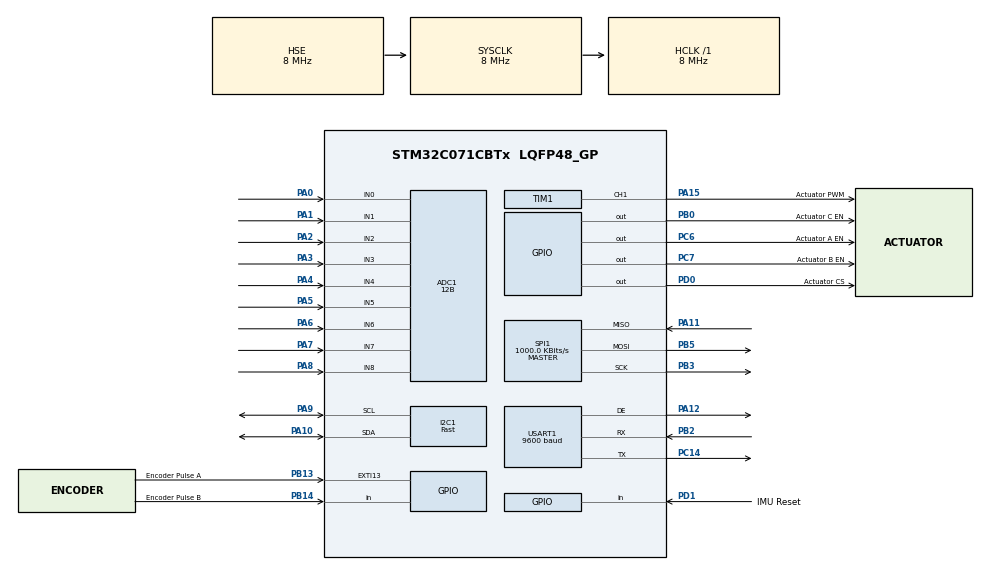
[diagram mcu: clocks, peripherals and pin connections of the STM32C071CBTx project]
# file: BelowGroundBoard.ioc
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ADC1.ClockPrescaler=ADC_CLOCK_SYNC_PCLK_DIV2
ADC1.ContinuousConvMode=ENABLE
ADC1.DMAContinuousRequests=ENABLE
ADC1.DiscontinuousConvMode=DISABLE
ADC1.EOCSelection=ADC_EOC_SEQ_CONV
ADC1.Overrun=ADC_OVR_DATA_PRESERVED
ADC1.OversamplingMode=DISABLE
ADC1.Resolution=ADC_RESOLUTION_12B
ADC1.SamplingTimeCommon1=ADC_SAMPLETIME_160CYCLES_5
ADC1.SelectedChannel=ADC_CHANNEL_0|ADC_CHANNEL_1|ADC_CHANNEL_2|ADC_CHANNEL_3|ADC_CHANNEL_4|ADC_CHANNEL_5|ADC_CHANNEL_6|ADC_CHANNEL_7|ADC_CHANNEL_8
ADC1.TriggerFrequencyMode=ADC_TRIGGER_FREQ_HIGH
ADC1.master=1
Dma.ADC1.4.Direction=DMA_PERIPH_TO_MEMORY
Dma.ADC1.4.EventEnable=DISABLE
Dma.ADC1.4.Instance=DMA1_Channel1
Dma.ADC1.4.MemDataAlignment=DMA_MDATAALIGN_HALFWORD
Dma.ADC1.4.MemInc=DMA_MINC_ENABLE
Dma.ADC1.4.Mode=DMA_CIRCULAR
Dma.ADC1.4.PeriphDataAlignment=DMA_PDATAALIGN_HALFWORD
Dma.ADC1.4.PeriphInc=DMA_PINC_DISABLE
Dma.ADC1.4.Polarity=HAL_DMAMUX_REQ_GEN_RISING
Dma.ADC1.4.Priority=DMA_PRIORITY_LOW
Dma.ADC1.4.RequestNumber=1
Dma.ADC1.4.SignalID=NONE
Dma.ADC1.4.SyncEnable=DISABLE
Dma.ADC1.4.SyncPolarity=HAL_DMAMUX_SYNC_NO_EVENT
Dma.ADC1.4.SyncRequestNumber=1
Dma.ADC1.4.SyncSignalID=NONE
Dma.I2C1_RX.2.Direction=DMA_PERIPH_TO_MEMORY
Dma.I2C1_RX.2.EventEnable=DISABLE
Dma.I2C1_RX.2.Instance=DMA1_Channel4
Dma.I2C1_RX.2.MemDataAlignment=DMA_MDATAALIGN_BYTE
Dma.I2C1_RX.2.MemInc=DMA_MINC_ENABLE
Dma.I2C1_RX.2.Mode=DMA_NORMAL
Dma.I2C1_RX.2.PeriphDataAlignment=DMA_PDATAALIGN_BYTE
Dma.I2C1_RX.2.PeriphInc=DMA_PINC_DISABLE
Dma.I2C1_RX.2.Polarity=HAL_DMAMUX_REQ_GEN_RISING
Dma.I2C1_RX.2.Priority=DMA_PRIORITY_MEDIUM
Dma.I2C1_RX.2.RequestNumber=1
Dma.I2C1_RX.2.SignalID=NONE
Dma.I2C1_RX.2.SyncEnable=DISABLE
Dma.I2C1_RX.2.SyncPolarity=HAL_DMAMUX_SYNC_NO_EVENT
Dma.I2C1_RX.2.SyncRequestNumber=1
Dma.I2C1_RX.2.SyncSignalID=NONE
Dma.I2C1_TX.3.Direction=DMA_MEMORY_TO_PERIPH
Dma.I2C1_TX.3.EventEnable=DISABLE
Dma.I2C1_TX.3.Instance=DMA1_Channel5
Dma.I2C1_TX.3.MemDataAlignment=DMA_MDATAALIGN_BYTE
Dma.I2C1_TX.3.MemInc=DMA_MINC_ENABLE
Dma.I2C1_TX.3.Mode=DMA_NORMAL
Dma.I2C1_TX.3.PeriphDataAlignment=DMA_PDATAALIGN_BYTE
Dma.I2C1_TX.3.PeriphInc=DMA_PINC_DISABLE
Dma.I2C1_TX.3.Polarity=HAL_DMAMUX_REQ_GEN_RISING
Dma.I2C1_TX.3.Priority=DMA_PRIORITY_LOW
Dma.I2C1_TX.3.RequestNumber=1
Dma.I2C1_TX.3.SignalID=NONE
Dma.I2C1_TX.3.SyncEnable=DISABLE
Dma.I2C1_TX.3.SyncPolarity=HAL_DMAMUX_SYNC_NO_EVENT
Dma.I2C1_TX.3.SyncRequestNumber=1
Dma.I2C1_TX.3.SyncSignalID=NONE
Dma.Request0=USART1_RX
Dma.Request1=USART1_TX
Dma.Request2=I2C1_RX
Dma.Request3=I2C1_TX
Dma.Request4=ADC1
Dma.USART1_RX.0.Direction=DMA_PERIPH_TO_MEMORY
Dma.USART1_RX.0.EventEnable=DISABLE
Dma.USART1_RX.0.Instance=DMA1_Channel2
Dma.USART1_RX.0.MemDataAlignment=DMA_MDATAALIGN_BYTE
Dma.USART1_RX.0.MemInc=DMA_MINC_ENABLE
Dma.USART1_RX.0.Mode=DMA_NORMAL
Dma.USART1_RX.0.PeriphDataAlignment=DMA_PDATAALIGN_BYTE
Dma.USART1_RX.0.PeriphInc=DMA_PINC_DISABLE
Dma.USART1_RX.0.Polarity=HAL_DMAMUX_REQ_GEN_RISING
Dma.USART1_RX.0.Priority=DMA_PRIORITY_VERY_HIGH
Dma.USART1_RX.0.RequestNumber=1
Dma.USART1_RX.0.SignalID=NONE
Dma.USART1_RX.0.SyncEnable=DISABLE
Dma.USART1_RX.0.SyncPolarity=HAL_DMAMUX_SYNC_NO_EVENT
Dma.USART1_RX.0.SyncRequestNumber=1
Dma.USART1_RX.0.SyncSignalID=NONE
Dma.USART1_TX.1.Direction=DMA_MEMORY_TO_PERIPH
Dma.USART1_TX.1.EventEnable=DISABLE
Dma.USART1_TX.1.Instance=DMA1_Channel3
Dma.USART1_TX.1.MemDataAlignment=DMA_MDATAALIGN_BYTE
Dma.USART1_TX.1.MemInc=DMA_MINC_ENABLE
Dma.USART1_TX.1.Mode=DMA_NORMAL
Dma.USART1_TX.1.PeriphDataAlignment=DMA_PDATAALIGN_BYTE
Dma.USART1_TX.1.PeriphInc=DMA_PINC_DISABLE
Dma.USART1_TX.1.Polarity=HAL_DMAMUX_REQ_GEN_RISING
Dma.USART1_TX.1.Priority=DMA_PRIORITY_HIGH
Dma.USART1_TX.1.RequestNumber=1
Dma.USART1_TX.1.SignalID=NONE
Dma.USART1_TX.1.SyncEnable=DISABLE
Dma.USART1_TX.1.SyncPolarity=HAL_DMAMUX_SYNC_NO_EVENT
Dma.USART1_TX.1.SyncRequestNumber=1
Dma.USART1_TX.1.SyncSignalID=NONE
I2C1.I2C_Fall_Time=40
I2C1.I2C_Rise_Time=40
I2C1.I2C_Speed_Mode=I2C_Fast
I2C1.Timing=0x0010020B
Mcu.Family=STM32C0
Mcu.Name=STM32C071CBTx
Mcu.Package=LQFP48_GP
NVIC.ADC1_IRQn=true\:0\:0\:false\:false\:true\:true\:true\:true
NVIC.DMA1_Channel1_IRQn=true\:0\:0\:false\:false\:true\:false\:true\:true
NVIC.DMA1_Channel2_3_IRQn=true\:0\:0\:false\:false\:true\:false\:true\:true
NVIC.DMAMUX1_DMA1_CH4_5_IRQn=true\:0\:0\:false\:false\:true\:false\:true\:true
NVIC.EXTI4_15_IRQn=true\:0\:0\:false\:false\:true\:true\:true\:true
NVIC.I2C1_IRQn=true\:3\:0\:true\:false\:true\:true\:true\:true
NVIC.TIM14_IRQn=true\:0\:0\:false\:false\:true\:true\:true\:true
NVIC.USART1_IRQn=true\:0\:0\:false\:false\:true\:true\:true\:true
PA0.Mode=IN0
PA0.Signal=ADC1_IN0
PA1.Mode=IN1
PA1.Signal=ADC1_IN1
PA10\ [PA12].Mode=I2C
PA10\ [PA12].Signal=I2C1_SDA
PA11\ [PA9].Mode=Full_Duplex_Master
PA11\ [PA9].Signal=SPI1_MISO
PA12\ [PA10].Mode=Hardware Flow Control (RS485)
PA12\ [PA10].Signal=USART1_DE
PA13.Mode=Serial_Wire
PA13.Signal=DEBUG_SWDIO
PA14-BOOT0.Mode=Serial_Wire
PA14-BOOT0.Signal=DEBUG_SWCLK
PA15.GPIO_Label=Actuator PWM
PA15.Signal=S_TIM1_CH1
PA2.Mode=IN2
PA2.Signal=ADC1_IN2
PA3.Mode=IN3
PA3.Signal=ADC1_IN3
PA4.Mode=IN4
PA4.Signal=ADC1_IN4
PA5.Mode=IN5
PA5.Signal=ADC1_IN5
PA6.Mode=IN6
PA6.Signal=ADC1_IN6
PA7.Mode=IN7
PA7.Signal=ADC1_IN7
PA8.Mode=IN8
PA8.Signal=ADC1_IN8
PA9\ [PA11].Mode=I2C
PA9\ [PA11].Signal=I2C1_SCL
PB0.GPIO_Label=Actuator C EN
PB0.Signal=GPIO_Output
PB13.GPIO_Label=Encoder Pulse A
PB13.Signal=GPXTI13
PB14.GPIO_Label=Encoder Pulse B
PB14.Signal=GPIO_Input
PB2.Mode=Asynchronous
PB2.Signal=USART1_RX
PB3.Mode=Full_Duplex_Master
PB3.Signal=SPI1_SCK
PB5.Mode=Full_Duplex_Master
PB5.Signal=SPI1_MOSI
PC14-OSCX_IN(PC14).Mode=Asynchronous
PC14-OSCX_IN(PC14).Signal=USART1_TX
PC6.GPIO_Label=Actuator A EN
PC6.Signal=GPIO_Output
PC7.GPIO_Label=Actuator B EN
PC7.Signal=GPIO_Output
PD0.GPIO_Label=Actuator CS
PD0.GPIO_Speed=GPIO_SPEED_FREQ_VERY_HIGH
PD0.PinState=GPIO_PIN_SET
PD0.Signal=GPIO_Output
PD1.GPIO_Label=IMU Reset
PD1.Signal=GPIO_Input
PF0-OSC_IN(PF0).Mode=HSE-External-Oscillator
PF0-OSC_IN(PF0).Signal=RCC_OSC_IN
PF1-OSC_OUT(PF1).Mode=HSE-External-Oscillator
PF1-OSC_OUT(PF1).Signal=RCC_OSC_OUT
ProjectManager.HeapSize=0x200
ProjectManager.StackSize=0x400
ProjectManager.TargetToolchain=STM32CubeIDE
RCC.ADCFreq_Value=8000000
RCC.AHBFreq_Value=8000000
RCC.CortexFreq_Value=8000000
RCC.EXTERNAL_CLOCK_VALUE=12288000
RCC.HCLKFreq_Value=8000000
RCC.HSE_VALUE=8000000
RCC.HSI48_VALUE=48000000
RCC.HSIKERCLKDivider=RCC_HSIKER_DIV1
RCC.HSI_VALUE=48000000
RCC.LSE_VALUE=32768
RCC.SYSCLKFreq_VALUE=8000000
RCC.SYSCLKSource=RCC_SYSCLKSOURCE_HSE
SH.S_TIM1_CH1.0=TIM1_CH1,PWM Generation1 CH1
SPI1.BaudRatePrescaler=SPI_BAUDRATEPRESCALER_8
SPI1.CLKPhase=SPI_PHASE_2EDGE
SPI1.CLKPolarity=SPI_POLARITY_LOW
SPI1.CalculateBaudRate=1000.0 KBits/s
SPI1.Direction=SPI_DIRECTION_2LINES
SPI1.Mode=SPI_MODE_MASTER
SPI1.VirtualType=VM_MASTER
TIM1.AutoReloadPreload=TIM_AUTORELOAD_PRELOAD_ENABLE
TIM1.Channel-PWM\ Generation1\ CH1=TIM_CHANNEL_1
TIM1.Period=100-1
TIM1.Prescaler=80-1
TIM14.Period=10000 - 1
TIM14.Prescaler=800 - 1 
USART1.BaudRate=9600
USART1.ClockPrescaler=PRESCALER_DIV1
USART1.VirtualMode-Asynchronous=VM_ASYNC
USART1.VirtualMode-Hardware\ Flow\ Control\ (RS485)=VM_ASYNC
VP_TIM14_VS_ClockSourceINT.Mode=Enable_Timer
board=custom

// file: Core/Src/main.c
/* USER CODE BEGIN Header */
/**
  ******************************************************************************
  * @file           : main.c
  * @brief          : Main program body
  ******************************************************************************
  * @attention
  *
  * Copyright (c) 2024 STMicroelectronics.
  * All rights reserved.
  *
  * This software is licensed under terms that can be found in the LICENSE file
  * in the root directory of this software component.
  * If no LICENSE file comes with this software, it is provided AS-IS.
  *
  ******************************************************************************
  */
/* USER CODE END Header */
#include "main.h"

/* USER CODE BEGIN Includes */
#include "modbus.h"
#include "bno055.h"
#include "lin_actuator.h"
#include "error_codes.h"
#include "sensor_adc.h"
/* USER CODE END Includes */

I2C_HandleTypeDef hi2c1;
DMA_HandleTypeDef hdma_i2c1_rx;
DMA_HandleTypeDef hdma_i2c1_tx;

SPI_HandleTypeDef hspi1;

TIM_HandleTypeDef htim1;
TIM_HandleTypeDef htim14;

UART_HandleTypeDef huart1;
DMA_HandleTypeDef hdma_usart1_rx;
DMA_HandleTypeDef hdma_usart1_tx;

/* USER CODE BEGIN PV */

pid_t pid_constraints;
uint16_t pin_map[NUM_ACTUATORS];
GPIO_TypeDef* port_map[NUM_ACTUATORS];
volatile int32_t encoder_pulse;

uint16_t holding_register_database[NUM_HOLDING_REGISTERS] = {
		0x0005,	// MODBUS_ID
		0x0003, // MB_BAUD_RATE
		  1000, // MB_TRANSMIT_TIMEOUT
		   	 2, // MB_TRANSMIT_RETRIES
		0x0000, // MB_ERRORS
		0x0000, // I2C_ERRORS
		0x0000, // I2C_SHUTDOWN
		0x0000, // ADC_ERRORS
		0x0000, // AUTOPILOT

		0xFFFF, // ADC 0
		0xFFFF, // ADC 1
		0xFFFF, // ADC 2
		0xFFFF, // ADC 3
		0xFFFF, // ADC 4
		0xFFFF, // ADC 5
		0xFFFF, // ADC 6
		0xFFFF, // ADC 7
		0xFFFF, // ADC 8

		0xFFFF, // Accelerometer X
		0xFFFF, // Accelerometer Y
		0xFFFF, // Accelerometer Z
		0xFFFF, // Magnetometer X
		0xFFFF, // Magnetometer Y
		0xFFFF, // Magnetometer Z
		0xFFFF, // Gyroscope X
		0xFFFF, // Gyroscope Y
		0xFFFF, // Gyroscope Z

		0xFFFF, // Euler Heading
		0xFFFF, // Euler Roll
		0xFFFF, // Euler Pitch
		0xFFFF, // Linear Acceleration X
		0xFFFF, // Linear Acceleration Y
		0xFFFF, // Linear Acceleration Z
		0xFFFF, // Gravity X
		0xFFFF, // Gravity Y
		0xFFFF, // Gravity Z
		0xFFFF, // Quarternion W
		0xFFFF, // Quarternion X
		0xFFFF, // Quarternion Y
		0xFFFF, // Quarternion Z

		0xFFFF, // Remote Accelerometer X
		0xFFFF, // Remote Accelerometer Y
		0xFFFF, // Remote Accelerometer Z
		0xFFFF, // Remote Magnetometer X
		0xFFFF, // Remote Magnetometer Y
		0xFFFF, // Remote Magnetometer Z
		0xFFFF, // Remote Gyroscope X
		0xFFFF, // Remote Gyroscope Y
		0xFFFF, // Remote Gyroscope Z

		0xFFFF, // Euler Heading
		0xFFFF, // Euler Roll
		0xFFFF, // Euler Pitch
		0xFFFF, // Linear Acceleration X
		0xFFFF, // Linear Acceleration Y
		0xFFFF, // Linear Acceleration Z
		0xFFFF, // Gravity X
		0xFFFF, // Gravity Y
		0xFFFF, // Gravity Z
		0xFFFF, // Quarternion W
		0xFFFF, // Quarternion X
		0xFFFF, // Quarternion Y
		0xFFFF, // Quarternion Z

		0x0000, // Encoder Speed
		0x2710, // Encoder Refresh Rate

		400, // Actuator A Target
		400, // Actuator B Target
		400, // Actuator C Target
		5000, // Actuator Time
		0xFFFF, 0xFFFF, // Proportional Gain
		0xFFFF, 0xFFFF, // Integral Gain
		0xFFFF, 0xFFFF, // Derivative Gain
		0xFFFF, 0xFFFF, // Time for Derivative Filtering
		0xFFFF, 0xFFFF, // Time Step
		0xFFFF, 0xFFFF, // Maximum Rate of Change
};

/* USER CODE END PV */

void SystemClock_Config(void);
static void MX_GPIO_Init(void);
static void MX_DMA_Init(void);
static void MX_ADC1_Init(void);
static void MX_I2C1_Init(void);
static void MX_SPI1_Init(void);
static void MX_TIM1_Init(void);
static void MX_TIM14_Init(void);
static void MX_USART1_UART_Init(void);

/* USER CODE BEGIN 0 */

void HAL_TIM_PeriodElapsedCallback(TIM_HandleTypeDef *htim)
{
	// Refresh the Encoder Speed (pulses / 10 minutes)
	holding_register_database[ENCODER_SPEED] = (int16_t)((((uint32_t)encoder_pulse)*600UL*10000UL) / (htim14.Init.Period + 1UL));
	encoder_pulse = 0;
}

void HAL_GPIO_EXTI_Rising_Callback(uint16_t GPIO_Pin)
{
	GPIO_PinState pulse_b = HAL_GPIO_ReadPin(Encoder_Pulse_B_GPIO_Port, Encoder_Pulse_B_Pin);
	if(pulse_b == GPIO_PIN_SET)
	{
		encoder_pulse++;
	}
	else
	{
		encoder_pulse--;
	}
}
/* USER CODE END 0 */

int main(void)
{

  /* USER CODE BEGIN 1 */
	int8_t modbus_status = HAL_OK;
	int8_t i2c_status = HAL_OK;
	int8_t adc_status = HAL_OK;
	uint8_t modbus_tx_len = 0;
	uint16_t encoder_refresh = 10000;
#ifdef USE_LINEAR_ACTUATOR
	uint8_t actuate_complete[NUM_ACTUATORS];
	uint8_t macro_consistency_count[NUM_ACTUATORS];
	uint8_t micro_consistency_count[NUM_ACTUATORS];
	uint32_t actuator_time = 0;
#endif
  /* USER CODE END 1 */

  /* MCU Configuration--------------------------------------------------------*/

  /* Reset of all peripherals, Initializes the Flash interface and the Systick. */
  HAL_Init();

  /* Configure the system clock */
  SystemClock_Config();

  /* Initialize all configured peripherals */
  MX_GPIO_Init();
  MX_DMA_Init();
  MX_ADC1_Init();
  MX_I2C1_Init();
  MX_SPI1_Init();
  MX_TIM1_Init();
  MX_TIM14_Init();
  MX_USART1_UART_Init();
  /* USER CODE BEGIN 2 */

  // Initialize the pin mapping table
  pin_map[0] = Actuator_A_EN_Pin;
  pin_map[1] = Actuator_B_EN_Pin;
  pin_map[2] = Actuator_C_EN_Pin;

  port_map[0] = Actuator_A_EN_GPIO_Port;
  port_map[1] = Actuator_B_EN_GPIO_Port;
  port_map[2] = Actuator_C_EN_GPIO_Port;

  // Initialize the PID constraints to defaults
  pid_constraints.Kp = 1;              // Proportional gain constant
  pid_constraints.Ki = 0.1;            // Integral gain constant
  pid_constraints.Kd = 5;              // Derivative gain constant
  pid_constraints.Kaw = 0.1;           // Anti-windup gain constant
  pid_constraints.T_C = 1;             // Time constant for derivative filtering
  pid_constraints.T = 100;             // Time step
  pid_constraints.max = 100;           // Max command
  pid_constraints.min = 15;            // Min command
  pid_constraints.max_rate = 40;       // Max rate of change of the command
  pid_constraints.integral = 0;        // Integral term
  pid_constraints.err_prev = 0;        // Previous error
  pid_constraints.deriv_prev = 0;      // Previous derivative
  pid_constraints.command_sat_prev = 0;// Previous saturated command
  pid_constraints.command_prev = 0;    // Previous command

  if(modbus_set_rx() != HAL_OK)
  {
	  Error_Handler();
  }

  /* Perform ADC activation procedure to make it ready to convert. */
  ADC_Activate();
  if ((LL_ADC_IsEnabled(ADC1) == 1)               &&
	  (LL_ADC_IsDisableOngoing(ADC1) == 0)        &&
	  (LL_ADC_REG_IsConversionOngoing(ADC1) == 0))
  {
	  LL_ADC_REG_StartConversion(ADC1);
  }

  bno055_init();

#ifdef USE_LINEAR_ACTUATOR
  	if(DRV_Init(DRV8244P_Q1) != HAL_OK)
  	{
  		Error_Handler();
  	}
	/*
	* target_actuator
	* 0: Actuator A
	* 1: Actuator B
	* 2: Actuator C
	*/
  	uint8_t target_actuator = 0;
  	actuate_complete[0] = 0;
  	actuate_complete[1] = 0;
  	actuate_complete[2] = 0;
#endif

  	HAL_TIM_Base_Start_IT(&htim14);
  /* USER CODE END 2 */

  /* Infinite loop */
  /* USER CODE BEGIN WHILE */

  while (1)
  {
	  if(modbus_rx())
	  {
		  if(get_rx_buffer(0) == holding_register_database[MODBUS_ID]) // Check Slave ID
		  {
			  switch(get_rx_buffer(1))
			  {
				  case 0x03:
				  {
					  // Return holding registers
					  modbus_status = return_holding_registers(&modbus_tx_len);
					  break;
				  }
				  case 0x10:
				  {
					  // Write holding registers
					  modbus_status = edit_multiple_registers(&modbus_tx_len);
					  break;
				  }
				  default:
				  {
					  modbus_status = modbus_exception(MB_ILLEGAL_FUNCTION);
					  break;
				  }
			  }
			  if(modbus_status != 0)
			  {
				  holding_register_database[MB_ERRORS] |= 1U << ((modbus_status) + (MB_FATAL_ERROR - RANGE_ERROR));
			  }
		  }
		  // Special case where you retrieve the modbus ID
		  else if((get_rx_buffer(0) == 0xFF) && // modbus_id = 0xFF = 255
			(get_rx_buffer(1) == 0x03) && // Function code = read_holding_registers
			(((get_rx_buffer(2) << 8) | get_rx_buffer(3)) == 0x00) && // Address to read = 0
			(((get_rx_buffer(4) << 8) | get_rx_buffer(5)) == 1)) // # of registers to read = 1
		  {

			  modbus_status = return_holding_registers(&modbus_tx_len);
			  if(modbus_status != 0)
			  {
				  holding_register_database[MB_ERRORS] |= 1U << ((modbus_status) + (MB_FATAL_ERROR - RANGE_ERROR));
			  }
		  }
	  }
	  modbus_status = monitor_modbus();
	  if(modbus_status != HAL_OK && modbus_status != HAL_BUSY)
	  {
		  switch(modbus_status)
		  {
			  case MB_TX_TIMEOUT:
			  {
				  for(uint8_t i = 0; i < holding_register_database[MB_TRANSMIT_RETRIES]; i++)
				  {
					  modbus_status = modbus_send(modbus_tx_len);
					  while(monitor_modbus() == HAL_BUSY);
					  if(modbus_status != HAL_OK)
					  {

						  holding_register_database[MB_ERRORS] |= 1U << ((modbus_status) + (MB_FATAL_ERROR - RANGE_ERROR));
					  }
				  }
				  break;
			  }
			  case MB_RX_TIMEOUT:
			  {
				  // Error only relates to Modbus Master Nodes
				  break;
			  }
			  case MB_UART_ERROR:
			  {
				  if(modbus_status != 0)
				  {
					  holding_register_database[MB_ERRORS] |= 1U << ((modbus_status) + (MB_FATAL_ERROR - RANGE_ERROR));
				  }
				  break;
			  }
			  case MB_FATAL_ERROR:
			  {
				  while(modbus_status != HAL_OK)
				  {
					  modbus_status = modbus_reset();
				  }
				  if(modbus_status != 0)
				  {
					  holding_register_database[MB_ERRORS] |= 1U << ((modbus_status) + (MB_FATAL_ERROR - RANGE_ERROR));
				  }
				  break;
			  }
			  default:
			  {
				  // Unknown error
			  }
		  }
	  }

	  if(!holding_register_database[I2C_SHUTDOWN])
	  {
		  if(bno055_rx())
		  {
			  i2c_status = bno055_queue_transaction();
			  if(i2c_status != 0)
			  {
				  holding_register_database[I2C_ERRORS] |= 1U << ((i2c_status) + (I2C_FATAL_ERROR - I2C_TX_TIMEOUT));
			  }
		  }

		  i2c_status = monitor_i2c();
		  if(i2c_status != HAL_OK && i2c_status != HAL_BUSY)
		  {
			  switch(i2c_status)
			  {
				  case I2C_TX_TIMEOUT:
				  {
					  break;
				  }
				  case I2C_RX_TIMEOUT:
				  {
					  break;
				  }
				  case I2C_ERROR:
				  {
					  break;
				  }
				  case I2C_FATAL_ERROR:
				  {
					  // Disable the I2C peripheral
					  holding_register_database[I2C_SHUTDOWN] = 1;
					  break;
				  }
				  default:
				  {
					  // Unknown error
				  }
			  }
		  }
	  }

#ifdef USE_LINEAR_ACTUATOR
	  // If the actuator is in the Micro range
	  if(((holding_register_database[ADC_6 + target_actuator]) >= (holding_register_database[ACTUATOR_A_TARGET + target_actuator] - ACTUATOR_TOLERANCE)) &&
		 ((holding_register_database[ADC_6 + target_actuator]) <= (holding_register_database[ACTUATOR_A_TARGET + target_actuator] + ACTUATOR_TOLERANCE)))
	  {
		  micro_consistency_count[target_actuator]++;
		  if(micro_consistency_count[target_actuator] >= 5)
		  {
			  micro_consistency_count[target_actuator] = 5;
			  actuate_complete[target_actuator] = 1;
			  if(actuate_complete[0] == 1 &&
				 actuate_complete[1] == 1 &&
				 actuate_complete[2] == 1 &&
				 !DRV_GetShutoff())
			  {
				  DRV_Shutoff();
			  }
			  else if(!DRV_GetShutoff())
			  {
				  // Move to the next actuator and force it to run if it isn't in the requested range
				  actuator_time = HAL_GetTick() - ((uint32_t)holding_register_database[ACTUATOR_TIME]);
				  target_actuator = ((target_actuator + 1) == NUM_ACTUATORS)? 0: target_actuator + 1;
			  }
		  }
	  }
	  else
	  {
		  micro_consistency_count[target_actuator] = 0;
		  // if the DRV is shutoff
		  if(DRV_GetShutoff())
		  {
			  // If the ADC is outside of the Macro range
			  if(((holding_register_database[ADC_6 + target_actuator]) <= (holding_register_database[ACTUATOR_A_TARGET + target_actuator] - ACTUATOR_TOLERANCE_MACRO)) ||
				 ((holding_register_database[ADC_6 + target_actuator]) >= (holding_register_database[ACTUATOR_A_TARGET + target_actuator] + ACTUATOR_TOLERANCE_MACRO)))
			  {
				  macro_consistency_count[target_actuator]++;
				  if(macro_consistency_count[target_actuator] >= 10)
				  {
					  macro_consistency_count[target_actuator] = 10;
					  DRV_Activate(target_actuator, holding_register_database[ADC_6 + target_actuator], holding_register_database[ACTUATOR_A_TARGET + target_actuator]);
					  actuator_time = HAL_GetTick();
					  actuate_complete[0] = 0;
					  actuate_complete[1] = 0;
					  actuate_complete[2] = 0;
				  }
			  }
			  else
			  {
				 // Check a different actuator
				  macro_consistency_count[target_actuator] = 0;
				  target_actuator = ((target_actuator + 1) == NUM_ACTUATORS)? 0: target_actuator + 1;
			  }
		  }
		  else
		  {
			  // If the actuator has been running for a given amount of time
			  if((HAL_GetTick() - actuator_time) >= ((uint32_t)holding_register_database[ACTUATOR_TIME]))
			  {
				  actuator_time = HAL_GetTick();
				  target_actuator = ((target_actuator + 1) == NUM_ACTUATORS)? 0: target_actuator + 1;
			  }
		  }
	  }
	  actuate(target_actuator, holding_register_database[ADC_6 + target_actuator], holding_register_database[ACTUATOR_A_TARGET + target_actuator], &actuator_time);
#endif

	  // Monitor any ADC Errors
	  adc_status = monitor_adc();
	  if(adc_status != HAL_OK)
	  {
		  // An Overrun has occurred as shown in ADC1_IRQHandler in stm32c0xx_it.c. Log the error
		  holding_register_database[ADC_ERRORS] = 1;
	  }

	  // Handle the User changing the encoder refresh rate (does not log potential errors)
	  if(encoder_refresh != holding_register_database[ENCODER_REFRESH])
	  {
		  HAL_TIM_Base_Stop_IT(&htim14);
		  HAL_TIM_Base_DeInit(&htim14);
		  __HAL_RCC_TIM14_FORCE_RESET();
		  HAL_Delay(10);
		  __HAL_RCC_TIM14_RELEASE_RESET();
		  HAL_Delay(10);
		  htim14.Init.Period = holding_register_database[ENCODER_REFRESH] - 1;
		  HAL_TIM_Base_Init(&htim14);
		  HAL_TIM_Base_Start_IT(&htim14);
		  encoder_refresh = holding_register_database[ENCODER_REFRESH];
	  }
    /* USER CODE END WHILE */

  }
}

void SystemClock_Config(void)
{
  RCC_OscInitTypeDef RCC_OscInitStruct = {0};
  RCC_ClkInitTypeDef RCC_ClkInitStruct = {0};

  /** Initializes the RCC Oscillators according to the specified parameters
  * in the RCC_OscInitTypeDef structure.
  */
  RCC_OscInitStruct.OscillatorType = RCC_OSCILLATORTYPE_HSE;
  RCC_OscInitStruct.HSEState = RCC_HSE_ON;
  if (HAL_RCC_OscConfig(&RCC_OscInitStruct) != HAL_OK)
  {
    Error_Handler();
  }

  /** Initializes the CPU, AHB and APB buses clocks
  */
  RCC_ClkInitStruct.ClockType = RCC_CLOCKTYPE_HCLK|RCC_CLOCKTYPE_SYSCLK
                              |RCC_CLOCKTYPE_PCLK1;
  RCC_ClkInitStruct.SYSCLKSource = RCC_SYSCLKSOURCE_HSE;
  RCC_ClkInitStruct.SYSCLKDivider = RCC_SYSCLK_DIV1;
  RCC_ClkInitStruct.AHBCLKDivider = RCC_HCLK_DIV1;
  RCC_ClkInitStruct.APB1CLKDivider = RCC_APB1_DIV1;

  if (HAL_RCC_ClockConfig(&RCC_ClkInitStruct, FLASH_LATENCY_0) != HAL_OK)
  {
    Error_Handler();
  }
}

static void MX_ADC1_Init(void)
{

  LL_ADC_InitTypeDef ADC_InitStruct = {0};
  LL_ADC_REG_InitTypeDef ADC_REG_InitStruct = {0};

  LL_GPIO_InitTypeDef GPIO_InitStruct = {0};
  RCC_PeriphCLKInitTypeDef PeriphClkInit = {0};

  /** Initializes the peripherals clocks
  */
  PeriphClkInit.PeriphClockSelection = RCC_PERIPHCLK_ADC;
  PeriphClkInit.AdcClockSelection = RCC_ADCCLKSOURCE_SYSCLK;
  if (HAL_RCCEx_PeriphCLKConfig(&PeriphClkInit) != HAL_OK)
  {
    Error_Handler();
  }

  /* Peripheral clock enable */
  LL_APB2_GRP1_EnableClock(LL_APB2_GRP1_PERIPH_ADC);

  LL_IOP_GRP1_EnableClock(LL_IOP_GRP1_PERIPH_GPIOA);
  /**ADC1 GPIO Configuration
  PA0   ------> ADC1_IN0
  PA1   ------> ADC1_IN1
  PA2   ------> ADC1_IN2
  PA3   ------> ADC1_IN3
  PA4   ------> ADC1_IN4
  PA5   ------> ADC1_IN5
  PA6   ------> ADC1_IN6
  PA7   ------> ADC1_IN7
  PA8   ------> ADC1_IN8
  */
  GPIO_InitStruct.Pin = LL_GPIO_PIN_0;
  GPIO_InitStruct.Mode = LL_GPIO_MODE_ANALOG;
  GPIO_InitStruct.Pull = LL_GPIO_PULL_NO;
  LL_GPIO_Init(GPIOA, &GPIO_InitStruct);

  GPIO_InitStruct.Pin = LL_GPIO_PIN_1;
  GPIO_InitStruct.Mode = LL_GPIO_MODE_ANALOG;
  GPIO_InitStruct.Pull = LL_GPIO_PULL_NO;
  LL_GPIO_Init(GPIOA, &GPIO_InitStruct);

  GPIO_InitStruct.Pin = LL_GPIO_PIN_2;
  GPIO_InitStruct.Mode = LL_GPIO_MODE_ANALOG;
  GPIO_InitStruct.Pull = LL_GPIO_PULL_NO;
  LL_GPIO_Init(GPIOA, &GPIO_InitStruct);

  GPIO_InitStruct.Pin = LL_GPIO_PIN_3;
  GPIO_InitStruct.Mode = LL_GPIO_MODE_ANALOG;
  GPIO_InitStruct.Pull = LL_GPIO_PULL_NO;
  LL_GPIO_Init(GPIOA, &GPIO_InitStruct);

  GPIO_InitStruct.Pin = LL_GPIO_PIN_4;
  GPIO_InitStruct.Mode = LL_GPIO_MODE_ANALOG;
  GPIO_InitStruct.Pull = LL_GPIO_PULL_NO;
  LL_GPIO_Init(GPIOA, &GPIO_InitStruct);

  GPIO_InitStruct.Pin = LL_GPIO_PIN_5;
  GPIO_InitStruct.Mode = LL_GPIO_MODE_ANALOG;
  GPIO_InitStruct.Pull = LL_GPIO_PULL_NO;
  LL_GPIO_Init(GPIOA, &GPIO_InitStruct);

  GPIO_InitStruct.Pin = LL_GPIO_PIN_6;
  GPIO_InitStruct.Mode = LL_GPIO_MODE_ANALOG;
  GPIO_InitStruct.Pull = LL_GPIO_PULL_NO;
  LL_GPIO_Init(GPIOA, &GPIO_InitStruct);

  GPIO_InitStruct.Pin = LL_GPIO_PIN_7;
  GPIO_InitStruct.Mode = LL_GPIO_MODE_ANALOG;
  GPIO_InitStruct.Pull = LL_GPIO_PULL_NO;
  LL_GPIO_Init(GPIOA, &GPIO_InitStruct);

  GPIO_InitStruct.Pin = LL_GPIO_PIN_8;
  GPIO_InitStruct.Mode = LL_GPIO_MODE_ANALOG;
  GPIO_InitStruct.Pull = LL_GPIO_PULL_NO;
  LL_GPIO_Init(GPIOA, &GPIO_InitStruct);

  /* ADC1 DMA Init */

  /* ADC1 Init */
  LL_DMA_SetPeriphRequest(DMA1, LL_DMA_CHANNEL_1, LL_DMAMUX_REQ_ADC1);

  LL_DMA_SetDataTransferDirection(DMA1, LL_DMA_CHANNEL_1, LL_DMA_DIRECTION_PERIPH_TO_MEMORY);

  LL_DMA_SetChannelPriorityLevel(DMA1, LL_DMA_CHANNEL_1, LL_DMA_PRIORITY_LOW);

  LL_DMA_SetMode(DMA1, LL_DMA_CHANNEL_1, LL_DMA_MODE_CIRCULAR);

  LL_DMA_SetPeriphIncMode(DMA1, LL_DMA_CHANNEL_1, LL_DMA_PERIPH_NOINCREMENT);

  LL_DMA_SetMemoryIncMode(DMA1, LL_DMA_CHANNEL_1, LL_DMA_MEMORY_INCREMENT);

  LL_DMA_SetPeriphSize(DMA1, LL_DMA_CHANNEL_1, LL_DMA_PDATAALIGN_HALFWORD);

  LL_DMA_SetMemorySize(DMA1, LL_DMA_CHANNEL_1, LL_DMA_MDATAALIGN_HALFWORD);

  /* ADC1 interrupt Init */
  NVIC_SetPriority(ADC1_IRQn, 0);
  NVIC_EnableIRQ(ADC1_IRQn);

  /* USER CODE BEGIN ADC1_Init 1 */

  /* Set DMA transfer addresses of source and destination */
  LL_DMA_ConfigAddresses(DMA1, LL_DMA_CHANNEL_1, LL_ADC_DMA_GetRegAddr(ADC1, LL_ADC_DMA_REG_REGULAR_DATA),
		  (uint32_t)&holding_register_database[ADC_0],
		  LL_DMA_DIRECTION_PERIPH_TO_MEMORY);

  /* Set DMA transfer size */
  LL_DMA_SetDataLength(DMA1, LL_DMA_CHANNEL_1, 9);

  /* Enable DMA transfer interruption: transfer complete */
  LL_DMA_EnableIT_TC(DMA1, LL_DMA_CHANNEL_1);

  /* Enable DMA transfer interruption: transfer half complete */
  LL_DMA_EnableIT_HT(DMA1, LL_DMA_CHANNEL_1);

  /* Enable DMA transfer interruption: transfer error */
  LL_DMA_EnableIT_TE(DMA1, LL_DMA_CHANNEL_1);

  /* Enable the DMA transfer */
  LL_DMA_EnableChannel(DMA1, LL_DMA_CHANNEL_1);
  /* USER CODE END ADC1_Init 1 */

  /** Configure the global features of the ADC (Clock, Resolution, Data Alignment and number of conversion)
  */

   #define ADC_CHANNEL_CONF_RDY_TIMEOUT_MS ( 1U)
   #if (USE_TIMEOUT == 1)
   uint32_t Timeout ; /* Variable used for Timeout management */
   #endif /* USE_TIMEOUT */

  ADC_InitStruct.Clock = LL_ADC_CLOCK_SYNC_PCLK_DIV2;
  ADC_InitStruct.Resolution = LL_ADC_RESOLUTION_12B;
  ADC_InitStruct.DataAlignment = LL_ADC_DATA_ALIGN_RIGHT;
  ADC_InitStruct.LowPowerMode = LL_ADC_LP_MODE_NONE;
  LL_ADC_Init(ADC1, &ADC_InitStruct);
  LL_ADC_REG_SetSequencerConfigurable(ADC1, LL_ADC_REG_SEQ_FIXED);
  ADC_REG_InitStruct.TriggerSource = LL_ADC_REG_TRIG_SOFTWARE;
  ADC_REG_InitStruct.SequencerLength = 0;
  ADC_REG_InitStruct.SequencerDiscont = LL_ADC_REG_SEQ_DISCONT_DISABLE;
  ADC_REG_InitStruct.ContinuousMode = LL_ADC_REG_CONV_CONTINUOUS;
  ADC_REG_InitStruct.DMATransfer = LL_ADC_REG_DMA_TRANSFER_UNLIMITED;
  ADC_REG_InitStruct.Overrun = LL_ADC_REG_OVR_DATA_PRESERVED;
  LL_ADC_REG_Init(ADC1, &ADC_REG_InitStruct);
  LL_ADC_REG_SetSequencerScanDirection(ADC1, LL_ADC_REG_SEQ_SCAN_DIR_FORWARD);
  LL_ADC_SetOverSamplingScope(ADC1, LL_ADC_OVS_DISABLE);
  LL_ADC_SetTriggerFrequencyMode(ADC1, LL_ADC_CLOCK_FREQ_MODE_HIGH);
  LL_ADC_REG_SetSequencerChAdd(ADC1, LL_ADC_CHANNEL_0|LL_ADC_CHANNEL_1
                              |LL_ADC_CHANNEL_2|LL_ADC_CHANNEL_3
                              |LL_ADC_CHANNEL_4|LL_ADC_CHANNEL_5
                              |LL_ADC_CHANNEL_6|LL_ADC_CHANNEL_7
                              |LL_ADC_CHANNEL_8);

   /* Poll for ADC channel configuration ready */
   #if (USE_TIMEOUT == 1)
   Timeout = ADC_CHANNEL_CONF_RDY_TIMEOUT_MS;
   #endif /* USE_TIMEOUT */
   while (LL_ADC_IsActiveFlag_CCRDY(ADC1) == 0)
     {
   #if (USE_TIMEOUT == 1)
   /* Check Systick counter flag to decrement the time-out value */
   if (LL_SYSTICK_IsActiveCounterFlag())
     {
   if(Timeout-- == 0)
         {
   Error_Handler();
         }
     }
   #endif /* USE_TIMEOUT */
     }
   /* Clear flag ADC channel configuration ready */
   LL_ADC_ClearFlag_CCRDY(ADC1);
  LL_ADC_SetSamplingTimeCommonChannels(ADC1, LL_ADC_SAMPLINGTIME_COMMON_1, LL_ADC_SAMPLINGTIME_160CYCLES_5);
  LL_ADC_DisableIT_EOC(ADC1);
  LL_ADC_DisableIT_EOS(ADC1);

   /* Enable ADC internal voltage regulator */
   LL_ADC_EnableInternalRegulator(ADC1);
   /* Delay for ADC internal voltage regulator stabilization. */
   /* Compute number of CPU cycles to wait for, from delay in us. */
   /* Note: Variable divided by 2 to compensate partially */
   /* CPU processing cycles (depends on compilation optimization). */
   /* Note: If system core clock frequency is below 200kHz, wait time */
   /* is only a few CPU processing cycles. */
   uint32_t wait_loop_index;
   wait_loop_index = ((LL_ADC_DELAY_INTERNAL_REGUL_STAB_US * (SystemCoreClock / (100000 * 2))) / 10);
   while(wait_loop_index != 0)
     {
   wait_loop_index--;
     }
  /* USER CODE BEGIN ADC1_Init 2 */

   LL_ADC_EnableIT_OVR(ADC1);

  /* USER CODE END ADC1_Init 2 */

}

static void MX_I2C1_Init(void)
{

  hi2c1.Instance = I2C1;
  hi2c1.Init.Timing = 0x0010020B;
  hi2c1.Init.OwnAddress1 = 0;
  hi2c1.Init.AddressingMode = I2C_ADDRESSINGMODE_7BIT;
  hi2c1.Init.DualAddressMode = I2C_DUALADDRESS_DISABLE;
  hi2c1.Init.OwnAddress2 = 0;
  hi2c1.Init.OwnAddress2Masks = I2C_OA2_NOMASK;
  hi2c1.Init.GeneralCallMode = I2C_GENERALCALL_DISABLE;
  hi2c1.Init.NoStretchMode = I2C_NOSTRETCH_DISABLE;
  if (HAL_I2C_Init(&hi2c1) != HAL_OK)
  {
    Error_Handler();
  }

  /** Configure Analogue filter
  */
  if (HAL_I2CEx_ConfigAnalogFilter(&hi2c1, I2C_ANALOGFILTER_ENABLE) != HAL_OK)
  {
    Error_Handler();
  }

  /** Configure Digital filter
  */
  if (HAL_I2CEx_ConfigDigitalFilter(&hi2c1, 0) != HAL_OK)
  {
    Error_Handler();
  }

}

static void MX_SPI1_Init(void)
{

  /* SPI1 parameter configuration*/
  hspi1.Instance = SPI1;
  hspi1.Init.Mode = SPI_MODE_MASTER;
  hspi1.Init.Direction = SPI_DIRECTION_2LINES;
  hspi1.Init.DataSize = SPI_DATASIZE_8BIT;
  hspi1.Init.CLKPolarity = SPI_POLARITY_LOW;
  hspi1.Init.CLKPhase = SPI_PHASE_2EDGE;
  hspi1.Init.NSS = SPI_NSS_SOFT;
  hspi1.Init.BaudRatePrescaler = SPI_BAUDRATEPRESCALER_8;
  hspi1.Init.FirstBit = SPI_FIRSTBIT_MSB;
  hspi1.Init.TIMode = SPI_TIMODE_DISABLE;
  hspi1.Init.CRCCalculation = SPI_CRCCALCULATION_DISABLE;
  hspi1.Init.CRCPolynomial = 7;
  hspi1.Init.CRCLength = SPI_CRC_LENGTH_DATASIZE;
  hspi1.Init.NSSPMode = SPI_NSS_PULSE_DISABLE;
  if (HAL_SPI_Init(&hspi1) != HAL_OK)
  {
    Error_Handler();
  }

}

static void MX_TIM1_Init(void)
{

  TIM_MasterConfigTypeDef sMasterConfig = {0};
  TIM_OC_InitTypeDef sConfigOC = {0};
  TIM_BreakDeadTimeConfigTypeDef sBreakDeadTimeConfig = {0};

  htim1.Instance = TIM1;
  htim1.Init.Prescaler = 80-1;
  htim1.Init.CounterMode = TIM_COUNTERMODE_UP;
  htim1.Init.Period = 100-1;
  htim1.Init.ClockDivision = TIM_CLOCKDIVISION_DIV1;
  htim1.Init.RepetitionCounter = 0;
  htim1.Init.AutoReloadPreload = TIM_AUTORELOAD_PRELOAD_ENABLE;
  if (HAL_TIM_PWM_Init(&htim1) != HAL_OK)
  {
    Error_Handler();
  }
  sMasterConfig.MasterOutputTrigger = TIM_TRGO_RESET;
  sMasterConfig.MasterOutputTrigger2 = TIM_TRGO2_RESET;
  sMasterConfig.MasterSlaveMode = TIM_MASTERSLAVEMODE_DISABLE;
  if (HAL_TIMEx_MasterConfigSynchronization(&htim1, &sMasterConfig) != HAL_OK)
  {
    Error_Handler();
  }
  sConfigOC.OCMode = TIM_OCMODE_PWM1;
  sConfigOC.Pulse = 0;
  sConfigOC.OCPolarity = TIM_OCPOLARITY_HIGH;
  sConfigOC.OCNPolarity = TIM_OCNPOLARITY_HIGH;
  sConfigOC.OCFastMode = TIM_OCFAST_DISABLE;
  sConfigOC.OCIdleState = TIM_OCIDLESTATE_RESET;
  sConfigOC.OCNIdleState = TIM_OCNIDLESTATE_RESET;
  if (HAL_TIM_PWM_ConfigChannel(&htim1, &sConfigOC, TIM_CHANNEL_1) != HAL_OK)
  {
    Error_Handler();
  }
  sBreakDeadTimeConfig.OffStateRunMode = TIM_OSSR_DISABLE;
  sBreakDeadTimeConfig.OffStateIDLEMode = TIM_OSSI_DISABLE;
  sBreakDeadTimeConfig.LockLevel = TIM_LOCKLEVEL_OFF;
  sBreakDeadTimeConfig.DeadTime = 0;
  sBreakDeadTimeConfig.BreakState = TIM_BREAK_DISABLE;
  sBreakDeadTimeConfig.BreakPolarity = TIM_BREAKPOLARITY_HIGH;
  sBreakDeadTimeConfig.BreakFilter = 0;
  sBreakDeadTimeConfig.BreakAFMode = TIM_BREAK_AFMODE_INPUT;
  sBreakDeadTimeConfig.Break2State = TIM_BREAK2_DISABLE;
  sBreakDeadTimeConfig.Break2Polarity = TIM_BREAK2POLARITY_HIGH;
  sBreakDeadTimeConfig.Break2Filter = 0;
  sBreakDeadTimeConfig.Break2AFMode = TIM_BREAK_AFMODE_INPUT;
  sBreakDeadTimeConfig.AutomaticOutput = TIM_AUTOMATICOUTPUT_DISABLE;
  if (HAL_TIMEx_ConfigBreakDeadTime(&htim1, &sBreakDeadTimeConfig) != HAL_OK)
  {
    Error_Handler();
  }
  HAL_TIM_MspPostInit(&htim1);

}

static void MX_TIM14_Init(void)
{

  htim14.Instance = TIM14;
  htim14.Init.Prescaler = 800 - 1 ;
  htim14.Init.CounterMode = TIM_COUNTERMODE_UP;
  htim14.Init.Period = 10000 - 1;
  htim14.Init.ClockDivision = TIM_CLOCKDIVISION_DIV1;
  htim14.Init.AutoReloadPreload = TIM_AUTORELOAD_PRELOAD_DISABLE;
  if (HAL_TIM_Base_Init(&htim14) != HAL_OK)
  {
    Error_Handler();
  }

}

static void MX_USART1_UART_Init(void)
{

  huart1.Instance = USART1;
  huart1.Init.BaudRate = 9600;
  huart1.Init.WordLength = UART_WORDLENGTH_8B;
  huart1.Init.StopBits = UART_STOPBITS_1;
  huart1.Init.Parity = UART_PARITY_NONE;
  huart1.Init.Mode = UART_MODE_TX_RX;
  huart1.Init.HwFlowCtl = UART_HWCONTROL_NONE;
  huart1.Init.OverSampling = UART_OVERSAMPLING_16;
  huart1.Init.OneBitSampling = UART_ONE_BIT_SAMPLE_DISABLE;
  huart1.Init.ClockPrescaler = UART_PRESCALER_DIV1;
  huart1.AdvancedInit.AdvFeatureInit = UART_ADVFEATURE_NO_INIT;
  if (HAL_RS485Ex_Init(&huart1, UART_DE_POLARITY_HIGH, 0, 0) != HAL_OK)
  {
    Error_Handler();
  }
  if (HAL_UARTEx_SetTxFifoThreshold(&huart1, UART_TXFIFO_THRESHOLD_1_8) != HAL_OK)
  {
    Error_Handler();
  }
  if (HAL_UARTEx_SetRxFifoThreshold(&huart1, UART_RXFIFO_THRESHOLD_1_8) != HAL_OK)
  {
    Error_Handler();
  }
  if (HAL_UARTEx_DisableFifoMode(&huart1) != HAL_OK)
  {
    Error_Handler();
  }

}

static void MX_DMA_Init(void)
{

  /* DMA controller clock enable */
  __HAL_RCC_DMA1_CLK_ENABLE();

  /* DMA interrupt init */
  /* DMA1_Channel1_IRQn interrupt configuration */
  NVIC_SetPriority(DMA1_Channel1_IRQn, 0);
  NVIC_EnableIRQ(DMA1_Channel1_IRQn);
  /* DMA1_Channel2_3_IRQn interrupt configuration */
  HAL_NVIC_SetPriority(DMA1_Channel2_3_IRQn, 0, 0);
  HAL_NVIC_EnableIRQ(DMA1_Channel2_3_IRQn);
  /* DMAMUX1_DMA1_CH4_5_IRQn interrupt configuration */
  HAL_NVIC_SetPriority(DMAMUX1_DMA1_CH4_5_IRQn, 0, 0);
  HAL_NVIC_EnableIRQ(DMAMUX1_DMA1_CH4_5_IRQn);

}

static void MX_GPIO_Init(void)
{
  GPIO_InitTypeDef GPIO_InitStruct = {0};

  /* GPIO Ports Clock Enable */
  __HAL_RCC_GPIOC_CLK_ENABLE();
  __HAL_RCC_GPIOF_CLK_ENABLE();
  __HAL_RCC_GPIOA_CLK_ENABLE();
  __HAL_RCC_GPIOB_CLK_ENABLE();
  __HAL_RCC_GPIOD_CLK_ENABLE();

  /*Configure GPIO pin Output Level */
  HAL_GPIO_WritePin(Actuator_C_EN_GPIO_Port, Actuator_C_EN_Pin, GPIO_PIN_RESET);

  /*Configure GPIO pin Output Level */
  HAL_GPIO_WritePin(GPIOC, Actuator_A_EN_Pin|Actuator_B_EN_Pin, GPIO_PIN_RESET);

  /*Configure GPIO pin Output Level */
  HAL_GPIO_WritePin(Actuator_CS_GPIO_Port, Actuator_CS_Pin, GPIO_PIN_SET);

  /*Configure GPIO pin : Actuator_C_EN_Pin */
  GPIO_InitStruct.Pin = Actuator_C_EN_Pin;
  GPIO_InitStruct.Mode = GPIO_MODE_OUTPUT_PP;
  GPIO_InitStruct.Pull = GPIO_NOPULL;
  GPIO_InitStruct.Speed = GPIO_SPEED_FREQ_LOW;
  HAL_GPIO_Init(Actuator_C_EN_GPIO_Port, &GPIO_InitStruct);

  /*Configure GPIO pin : Encoder_Pulse_A_Pin */
  GPIO_InitStruct.Pin = Encoder_Pulse_A_Pin;
  GPIO_InitStruct.Mode = GPIO_MODE_IT_RISING;
  GPIO_InitStruct.Pull = GPIO_NOPULL;
  HAL_GPIO_Init(Encoder_Pulse_A_GPIO_Port, &GPIO_InitStruct);

  /*Configure GPIO pin : Encoder_Pulse_B_Pin */
  GPIO_InitStruct.Pin = Encoder_Pulse_B_Pin;
  GPIO_InitStruct.Mode = GPIO_MODE_INPUT;
  GPIO_InitStruct.Pull = GPIO_NOPULL;
  HAL_GPIO_Init(Encoder_Pulse_B_GPIO_Port, &GPIO_InitStruct);

  /*Configure GPIO pins : Actuator_A_EN_Pin Actuator_B_EN_Pin */
  GPIO_InitStruct.Pin = Actuator_A_EN_Pin|Actuator_B_EN_Pin;
  GPIO_InitStruct.Mode = GPIO_MODE_OUTPUT_PP;
  GPIO_InitStruct.Pull = GPIO_NOPULL;
  GPIO_InitStruct.Speed = GPIO_SPEED_FREQ_LOW;
  HAL_GPIO_Init(GPIOC, &GPIO_InitStruct);

  /*Configure GPIO pin : Actuator_CS_Pin */
  GPIO_InitStruct.Pin = Actuator_CS_Pin;
  GPIO_InitStruct.Mode = GPIO_MODE_OUTPUT_PP;
  GPIO_InitStruct.Pull = GPIO_NOPULL;
  GPIO_InitStruct.Speed = GPIO_SPEED_FREQ_VERY_HIGH;
  HAL_GPIO_Init(Actuator_CS_GPIO_Port, &GPIO_InitStruct);

  /*Configure GPIO pin : IMU_Reset_Pin */
  GPIO_InitStruct.Pin = IMU_Reset_Pin;
  GPIO_InitStruct.Mode = GPIO_MODE_INPUT;
  GPIO_InitStruct.Pull = GPIO_NOPULL;
  HAL_GPIO_Init(IMU_Reset_GPIO_Port, &GPIO_InitStruct);

  /* EXTI interrupt init*/
  HAL_NVIC_SetPriority(EXTI4_15_IRQn, 0, 0);
  HAL_NVIC_EnableIRQ(EXTI4_15_IRQn);

}

void Error_Handler(void)
{
  __disable_irq();
  while (1)
  {
  }
}
